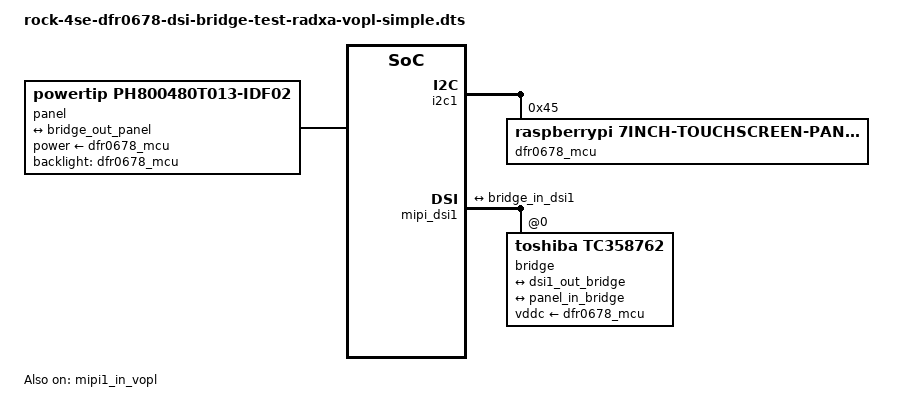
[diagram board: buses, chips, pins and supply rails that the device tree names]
// SPDX-License-Identifier: (GPL-2.0+ OR MIT)
/*
 * Experimental DFR0678 panel-descriptor test on Radxa's VOPL-to-DSI1 route.
 *
 * This keeps the test-radxa-vopl DSI, PLL, lane-rate, bridge, and power setup,
 * but uses the Powertip panel-simple descriptor for DPI metadata. The
 * Build 19 dfr0678-radxa-timing.patch must set that descriptor's mode to the
 * tested 26 MHz 800x480 timing. DSI0 supplies the shared PHY PLL while its
 * display host remains disabled.
 * Do not load with another overlay that claims I2C1 address 0x45.
 */

/dts-v1/;
/plugin/;

&{/} {
	panel {
		compatible = "powertip,ph800480t013-idf02";
		power-supply = <&dfr0678_mcu>;
		backlight = <&dfr0678_mcu>;

		port {
			panel_in_bridge: endpoint {
				remote-endpoint = <&bridge_out_panel>;
			};
		};
	};
};

&i2c1 {
	#address-cells = <1>;
	#size-cells = <0>;
	status = "okay";

	dfr0678_mcu: regulator@45 {
		compatible = "raspberrypi,7inch-touchscreen-panel-regulator";
		reg = <0x45>;
	};
};

&mipi1_in_vopb {
	status = "disabled";
};

&mipi1_in_vopl {
	status = "okay";
};

&mipi_dsi1 {
	#address-cells = <1>;
	#size-cells = <0>;
	status = "okay";
	rockchip,dsi-dsi0 = <&mipi_dsi>;
	rockchip,lane-rate = <696>;

	bridge@0 {
		compatible = "toshiba,tc358762";
		reg = <0>;
		vddc-supply = <&dfr0678_mcu>;
		toshiba,radxa-init;

		ports {
			#address-cells = <1>;
			#size-cells = <0>;

			port@0 {
				reg = <0>;

				bridge_in_dsi1: endpoint {
					remote-endpoint = <&dsi1_out_bridge>;
				};
			};

			port@1 {
				reg = <1>;

				bridge_out_panel: endpoint {
					remote-endpoint = <&panel_in_bridge>;
				};
			};
		};
	};

	ports {
		#address-cells = <1>;
		#size-cells = <0>;

		port@1 {
			reg = <1>;

			dsi1_out_bridge: endpoint {
				remote-endpoint = <&bridge_in_dsi1>;
			};
		};
	};
};
